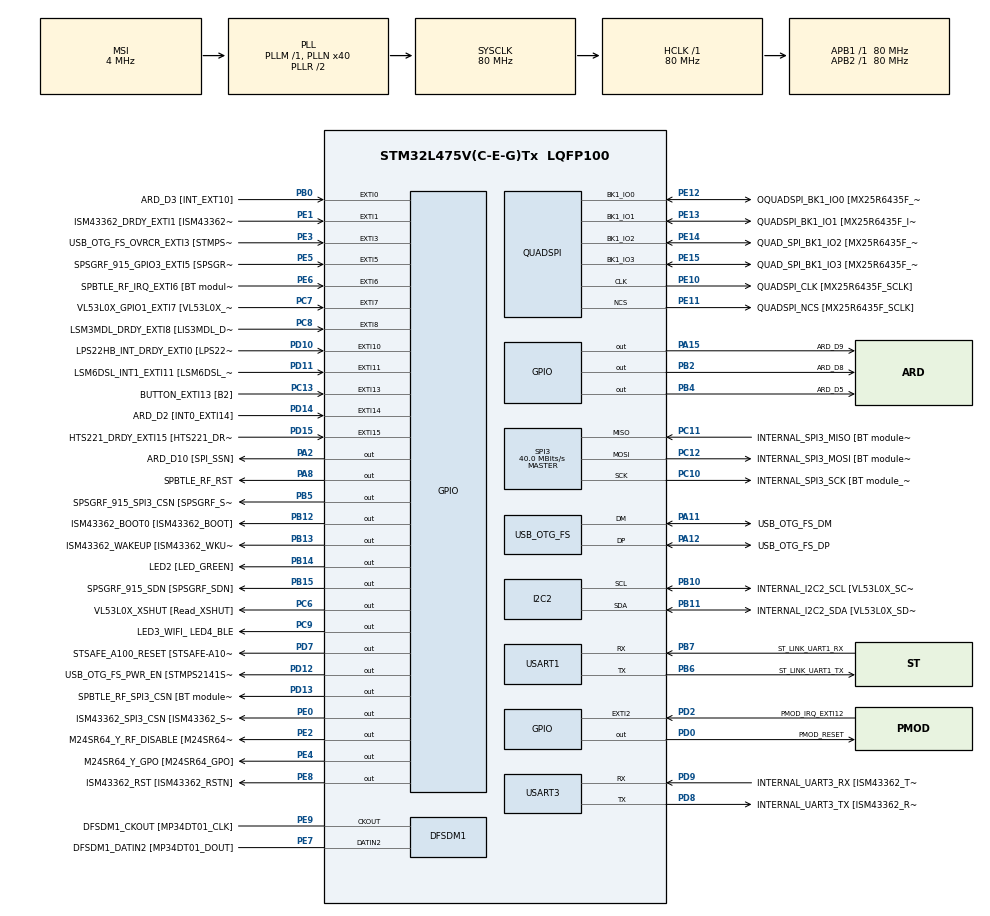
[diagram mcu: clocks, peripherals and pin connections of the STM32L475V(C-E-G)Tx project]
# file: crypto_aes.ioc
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Mcu.Family=STM32L4
Mcu.Name=STM32L475V(C-E-G)Tx
Mcu.Package=LQFP100
NVIC.EXTI15_10_IRQn=true\:0\:0\:false\:false\:true\:true\:true\:true
NVIC.EXTI9_5_IRQn=true\:0\:0\:false\:false\:true\:true\:true\:true
NVIC.PriorityGroup=NVIC_PRIORITYGROUP_4
PA0.GPIO_Label=ARD_D1 [UART4_TX]
PA0.Signal=UART4_TX
PA1.GPIO_Label=ARD_D0 [UART4_RX]
PA1.Signal=UART4_RX
PA10.GPIO_Label=USB_OTG_FS_ID
PA10.Signal=USB_OTG_FS_ID
PA11.GPIO_Label=USB_OTG_FS_DM
PA11.Mode=Device_Only
PA11.Signal=USB_OTG_FS_DM
PA12.GPIO_Label=USB_OTG_FS_DP
PA12.Mode=Device_Only
PA12.Signal=USB_OTG_FS_DP
PA13\ (JTMS-SWDIO).GPIO_Label=SYS_JTMS_SWDIO
PA13\ (JTMS-SWDIO).Mode=Serial_Wire
PA13\ (JTMS-SWDIO).Signal=SYS_JTMS-SWDIO
PA14\ (JTCK-SWCLK).GPIO_Label=SYS_JTCK_SWCLK
PA14\ (JTCK-SWCLK).Mode=Serial_Wire
PA14\ (JTCK-SWCLK).Signal=SYS_JTCK-SWCLK
PA15\ (JTDI).GPIO_Label=ARD_D9
PA15\ (JTDI).Signal=GPIO_Output
PA2.GPIO_Label=ARD_D10 [SPI_SSN]
PA2.Signal=GPIO_Output
PA3.GPIO_Label=ARD_D4
PA3.Signal=S_TIM2_CH4
PA4.GPIO_Label=ARD_D7
PA4.Signal=ADCx_IN9
PA5.GPIO_Label=ARD_D13 [SPI1_SCK]
PA5.Signal=SPI1_SCK
PA6.GPIO_Label=ARD_D12 [SPI1_MISO]
PA6.Signal=SPI1_MISO
PA7.GPIO_Label=ARD_D11 [SPI1_MOSI]
PA7.Signal=SPI1_MOSI
PA8.GPIO_Label=SPBTLE_RF_RST
PA8.Signal=GPIO_Output
PA9.GPIO_Label=USB_OTG_FS_VBUS [STMPS2141STR_OUT]
PA9.Signal=USB_OTG_FS_VBUS
PB0.GPIO_Label=ARD_D3 [INT_EXT10]
PB0.Signal=GPXTI0
PB1.GPIO_Label=ARD_D6 [ADC1_IN6]
PB1.Signal=ADCx_IN16
PB10.GPIO_Label=INTERNAL_I2C2_SCL [VL53L0X_SCL]
PB10.GPIO_Pu=GPIO_PULLUP
PB10.Mode=I2C
PB10.Signal=I2C2_SCL
PB11.GPIO_Label=INTERNAL_I2C2_SDA [VL53L0X_SDA]
PB11.GPIO_Pu=GPIO_PULLUP
PB11.Mode=I2C
PB11.Signal=I2C2_SDA
PB12.GPIO_Label=ISM43362_BOOT0 [ISM43362_BOOT]
PB12.Signal=GPIO_Output
PB13.GPIO_Label=ISM43362_WAKEUP [ISM43362_WKUP]
PB13.Signal=GPIO_Output
PB14.GPIO_Label=LED2 [LED_GREEN]
PB14.Signal=GPIO_Output
PB15.GPIO_Label=SPSGRF_915_SDN [SPSGRF_SDN]
PB15.Signal=GPIO_Output
PB2.GPIO_Label=ARD_D8
PB2.Signal=GPIO_Output
PB3\ (JTDO-TRACESWO).GPIO_Label=SYS_JTD0_SWO
PB3\ (JTDO-TRACESWO).Signal=SYS_JTDO-SWO
PB4\ (NJTRST).GPIO_Label=ARD_D5
PB4\ (NJTRST).Signal=GPIO_Output
PB5.GPIO_Label=SPSGRF_915_SPI3_CSN [SPSGRF_SPI_CS]
PB5.PinState=GPIO_PIN_SET
PB5.Signal=GPIO_Output
PB6.GPIO_Label=ST_LINK_UART1_TX
PB6.Mode=Asynchronous
PB6.Signal=USART1_TX
PB7.GPIO_Label=ST_LINK_UART1_RX
PB7.Mode=Asynchronous
PB7.Signal=USART1_RX
PB8.GPIO_Label=ARD_D15 [I2C1_SCL]
PB8.Signal=I2C1_SCL
PB9.GPIO_Label=ARD_D14 [I2C1_SDA]
PB9.Signal=I2C1_SDA
PC0.GPIO_Label=ARD_A5 [ADC]
PC0.Signal=ADCx_IN1
PC1.GPIO_Label=ARD_A4 [ADC]
PC1.Signal=ADCx_IN2
PC10.GPIO_Label=INTERNAL_SPI3_SCK [BT module_SPI_SCLK] [ISM43362_SCK]
PC10.Mode=Full_Duplex_Master
PC10.Signal=SPI3_SCK
PC11.GPIO_Label=INTERNAL_SPI3_MISO [BT module_SPI_MISO] [ISM43362_MISO]
PC11.Mode=Full_Duplex_Master
PC11.Signal=SPI3_MISO
PC12.GPIO_Label=INTERNAL_SPI3_MOSI [BT module_SPI_MOSI] [ISM43362_MOSI]
PC12.Mode=Full_Duplex_Master
PC12.Signal=SPI3_MOSI
PC13.GPIO_Label=BUTTON_EXTI13 [B2]
PC13.GPIO_ModeDefaultEXTI=GPIO_MODE_IT_FALLING
PC13.Signal=GPXTI13
PC14-OSC32_IN\ (PC14).Mode=LSE-External-Oscillator
PC14-OSC32_IN\ (PC14).Signal=RCC_OSC32_IN
PC15-OSC32_OUT\ (PC15).Mode=LSE-External-Oscillator
PC15-OSC32_OUT\ (PC15).Signal=RCC_OSC32_OUT
PC2.GPIO_Label=ARD_A3 [ADC]
PC2.Signal=ADCx_IN3
PC3.GPIO_Label=ARD_A2 [ADC]
PC3.Signal=ADCx_IN4
PC4.GPIO_Label=ARD_A1 [ADC]
PC4.Signal=ADCx_IN13
PC5.GPIO_Label=ARD_A0 [ADC]
PC5.Signal=ADCx_IN14
PC6.GPIO_Label=VL53L0X_XSHUT [Read_XSHUT]
PC6.Signal=GPIO_Output
PC7.GPIO_Label=VL53L0X_GPIO1_EXTI7 [VL53L0X_GPIO1]
PC7.Signal=GPXTI7
PC8.GPIO_Label=LSM3MDL_DRDY_EXTI8 [LIS3MDL_DRDY]
PC8.Signal=GPXTI8
PC9.GPIO_Label=LED3_WIFI_ LED4_BLE
PC9.Signal=GPIO_Output
PD0.GPIO_Label=PMOD_RESET
PD0.Signal=GPIO_Output
PD1.GPIO_Label=PMOD_SPI2_SCK
PD1.Signal=SPI2_SCK
PD10.GPIO_Label=LPS22HB_INT_DRDY_EXTI0 [LPS22HB_INT_DRDY] 
PD10.Signal=GPXTI10
PD11.GPIO_Label=LSM6DSL_INT1_EXTI11 [LSM6DSL_INT1]
PD11.Signal=GPXTI11
PD12.GPIO_Label=USB_OTG_FS_PWR_EN [STMPS2141STR_EN]
PD12.Signal=GPIO_Output
PD13.GPIO_Label=SPBTLE_RF_SPI3_CSN [BT module_SPI_CS]
PD13.PinState=GPIO_PIN_SET
PD13.Signal=GPIO_Output
PD14.GPIO_Label=ARD_D2 [INT0_EXTI14]
PD14.Signal=GPXTI14
PD15.GPIO_Label=HTS221_DRDY_EXTI15 [HTS221_DRDY]
PD15.Signal=GPXTI15
PD2.GPIO_Label=PMOD_IRQ_EXTI12
PD2.Signal=GPXTI2
PD3.GPIO_Label=PMOD_UART2_CTS
PD3.Signal=USART2_CTS
PD4.GPIO_Label=PMOD_UART2_RTS
PD4.Signal=USART2_RTS
PD5.GPIO_Label=PMOD_UART2_TX
PD5.Signal=USART2_TX
PD6.GPIO_Label=PMOD_UART2_RX
PD6.Signal=USART2_RX
PD7.GPIO_Label=STSAFE_A100_RESET [STSAFE-A100_RESET]
PD7.Signal=GPIO_Output
PD8.GPIO_Label=INTERNAL_UART3_TX [ISM43362_RX]
PD8.Mode=Asynchronous
PD8.Signal=USART3_TX
PD9.GPIO_Label=INTERNAL_UART3_RX [ISM43362_TX]
PD9.Mode=Asynchronous
PD9.Signal=USART3_RX
PE0.GPIO_Label=ISM43362_SPI3_CSN [ISM43362_SSN]
PE0.PinState=GPIO_PIN_SET
PE0.Signal=GPIO_Output
PE1.GPIO_Label=ISM43362_DRDY_EXTI1 [ISM43362_DATARDY]
PE1.Signal=GPXTI1
PE10.GPIO_Label=QUADSPI_CLK [MX25R6435F_SCLK]
PE10.Mode=Single Bank
PE10.Signal=QUADSPI_CLK
PE11.GPIO_Label=QUADSPI_NCS [MX25R6435F_SCLK]
PE11.Mode=Single Bank
PE11.Signal=QUADSPI_NCS
PE12.GPIO_Label=OQUADSPI_BK1_IO0 [MX25R6435F_IO0]
PE12.Mode=Single Bank
PE12.Signal=QUADSPI_BK1_IO0
PE13.GPIO_Label=QUADSPI_BK1_IO1 [MX25R6435F_IO1]
PE13.Mode=Single Bank
PE13.Signal=QUADSPI_BK1_IO1
PE14.GPIO_Label=QUAD_SPI_BK1_IO2 [MX25R6435F_IO2]
PE14.Mode=Single Bank
PE14.Signal=QUADSPI_BK1_IO2
PE15.GPIO_Label=QUAD_SPI_BK1_IO3 [MX25R6435F_IO3]
PE15.Mode=Single Bank
PE15.Signal=QUADSPI_BK1_IO3
PE2.GPIO_Label=M24SR64_Y_RF_DISABLE [M24SR64_RFDIS]
PE2.Signal=GPIO_Output
PE3.GPIO_Label=USB_OTG_FS_OVRCR_EXTI3 [STMPS2141STR_FAULT]
PE3.Signal=GPXTI3
PE4.GPIO_Label=M24SR64_Y_GPO [M24SR64_GPO]
PE4.Signal=GPIO_Output
PE5.GPIO_Label=SPSGRF_915_GPIO3_EXTI5 [SPSGRF_GPIO_3]
PE5.Signal=GPXTI5
PE6.GPIO_Label=SPBTLE_RF_IRQ_EXTI6 [BT module_SPI_IRQ]
PE6.Signal=GPXTI6
PE7.GPIO_Label=DFSDM1_DATIN2 [MP34DT01_DOUT]
PE7.Signal=S_DATAIN2DFSDM1
PE8.GPIO_Label=ISM43362_RST [ISM43362_RSTN]
PE8.Signal=GPIO_Output
PE9.GPIO_Label=DFSDM1_CKOUT [MP34DT01_CLK]
PE9.Signal=S_CKOUTDFSDM1
ProjectManager.HeapSize=0x200
ProjectManager.StackSize=0x400
ProjectManager.TargetToolchain=STM32CubeIDE
QUADSPI.ClockPrescaler=2
QUADSPI.FifoThreshold=4
QUADSPI.FlashSize=23
QUADSPI.SampleShifting=QSPI_SAMPLE_SHIFTING_HALFCYCLE
RCC.ADCFreq_Value=48000000
RCC.AHBFreq_Value=80000000
RCC.APB1Freq_Value=80000000
RCC.APB1TimFreq_Value=80000000
RCC.APB2Freq_Value=80000000
RCC.APB2TimFreq_Value=80000000
RCC.CortexFreq_Value=80000000
RCC.HCLKFreq_Value=80000000
RCC.HSE_VALUE=8000000
RCC.HSI_VALUE=16000000
RCC.MSI_VALUE=4000000
RCC.PLLN=40
RCC.PLLSAI1N=24
RCC.SYSCLKFreq_VALUE=80000000
RCC.SYSCLKSource=RCC_SYSCLKSOURCE_PLLCLK
RCC.USBFreq_Value=48000000
RCC.VCOOutputFreq_Value=160000000
SH.ADCx_IN1.0=ADC1_IN1
SH.ADCx_IN13.0=ADC1_IN13
SH.ADCx_IN14.0=ADC1_IN14
SH.ADCx_IN16.0=ADC1_IN16
SH.ADCx_IN2.0=ADC1_IN2
SH.ADCx_IN3.0=ADC1_IN3
SH.ADCx_IN4.0=ADC1_IN4
SH.ADCx_IN9.0=ADC1_IN9
SH.S_CKOUTDFSDM1.0=DFSDM1_CKOUT,CKOUT
SH.S_CKOUTDFSDM1.1=DFSDM1_CKOUT,PDM_SPI_Input_from_ch12_and_Internal_Clock
SH.S_DATAIN2DFSDM1.0=DFSDM1_DATIN2,PDM_SPI_Input_from_ch12_and_Internal_Clock
SH.S_TIM2_CH4.0=TIM2_CH4
SPI3.CalculateBaudRate=40.0 MBits/s
SPI3.Direction=SPI_DIRECTION_2LINES
SPI3.Mode=SPI_MODE_MASTER
SPI3.VirtualType=VM_MASTER
USART1.VirtualMode-Asynchronous=VM_ASYNC
USART3.VirtualMode-Asynchronous=VM_ASYNC
USB_OTG_FS.VirtualMode=Device_Only
VP_RNG_VS_RNG.Mode=RNG_Activate
board=B-L475E-IOT01A1

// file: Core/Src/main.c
/* USER CODE BEGIN Header */
/**
  ******************************************************************************
  * @file           : main.c
  * @brief          : Main program body
  ******************************************************************************
  * @attention
  *
  * Copyright (c) 2024 STMicroelectronics.
  * All rights reserved.
  *
  * This software is licensed under terms that can be found in the LICENSE file
  * in the root directory of this software component.
  * If no LICENSE file comes with this software, it is provided AS-IS.
  *
  ******************************************************************************
  */
/* USER CODE END Header */
#include "main.h"

/* USER CODE BEGIN Includes */
#include "tee_client_api.h"

/* USER CODE END Includes */

DFSDM_Channel_HandleTypeDef hdfsdm1_channel1;

I2C_HandleTypeDef hi2c2;

QSPI_HandleTypeDef hqspi;

RNG_HandleTypeDef hrng;

SPI_HandleTypeDef hspi3;

UART_HandleTypeDef huart1;
UART_HandleTypeDef huart3;

PCD_HandleTypeDef hpcd_USB_OTG_FS;

void SystemClock_Config(void);
void PeriphCommonClock_Config(void);
static void MX_GPIO_Init(void);
static void MX_DFSDM1_Init(void);
static void MX_I2C2_Init(void);
static void MX_QUADSPI_Init(void);
static void MX_SPI3_Init(void);
static void MX_USART1_UART_Init(void);
static void MX_USART3_UART_Init(void);
static void MX_USB_OTG_FS_PCD_Init(void);
static void MX_RNG_Init(void);

/* USER CODE BEGIN 0 */
static TEEC_UUID uuid = {0};

int __io_putchar(int ch){
    HAL_UART_Transmit(&huart1, (uint8_t *) &ch, 1, HAL_MAX_DELAY);
    return ch;
}

/* USER CODE END 0 */

int main(void)
{

  /* MCU Configuration--------------------------------------------------------*/

  /* Reset of all peripherals, Initializes the Flash interface and the Systick. */
  HAL_Init();

  /* Configure the system clock */
  SystemClock_Config();

  /* Configure the peripherals common clocks */
  PeriphCommonClock_Config();

  /* Initialize all configured peripherals */
  MX_GPIO_Init();
  MX_DFSDM1_Init();
  MX_I2C2_Init();
  MX_QUADSPI_Init();
  MX_SPI3_Init();
  MX_USART1_UART_Init();
  MX_USART3_UART_Init();
  MX_USB_OTG_FS_PCD_Init();
  MX_RNG_Init();
  /* USER CODE BEGIN 2 */
  TEEC_Context ctx;
  TEEC_Session sn;

  int ret = -1;

  ret = TEEC_InitializeContext("Example", &ctx);
  if(ret != 0){
	  return -1;
  }

  ret = TEEC_OpenSession(&ctx, &sn, &uuid, TEEC_LOGIN_PUBLIC, NULL, NULL, NULL);
  if(ret != 0){
	  return -1;
  }

  TEEC_Operation op = {0};

  op.paramTypes = TEEC_PARAM_TYPES(TEEC_MEMREF_TEMP_INPUT, TEEC_MEMREF_TEMP_INOUT , TEEC_MEMREF_TEMP_OUTPUT, TEEC_MEMREF_TEMP_OUTPUT);
  // param[0] holds the original message that should be encrypted by the TA
  op.params[0].tmpref.buffer = calloc(16, sizeof(char));
  op.params[0].tmpref.size = 16;
  // param[1] will hold the encryption of the message performed by the TA
  op.params[1].tmpref.buffer = calloc(16, sizeof(char));
  op.params[1].tmpref.size = 16;
  // param[2] will hold the dencryption of the message performed by the TA
  op.params[2].tmpref.buffer = calloc(16, sizeof(char));
  op.params[2].tmpref.size = 16;
  // param[3] will hold the digest of the message performed by the TA
  op.params[3].tmpref.buffer = calloc(32, sizeof(char));
  op.params[3].tmpref.size = 32;

  // Init the message to encrypt and print it
  memcpy(op.params[0].tmpref.buffer, "Secret-Message!\0", 16);
  printf("CA wants to encrypt this message with AES: %s\r\n", op.params[0].tmpref.buffer);

  // Make the TA generate the AES Key
  ret = TEEC_InvokeCommand(&sn, TEEC_COMMAND_GENERATE_KEY, &op, NULL);
  if(ret != 0){
	  return -1;
  }

  // Make the TA encrypt the message
  ret = TEEC_InvokeCommand(&sn, TEEC_COMMAND_ENCRYPT, &op, NULL);
  if(ret != 0){
	  return -1;
  }
  printf("Encrypted message: %s\r\n", op.params[1].tmpref.buffer);

  // Make the TA decrypt the message
  ret = TEEC_InvokeCommand(&sn, TEEC_COMMAND_DECRYPT, &op, NULL);
  if(ret != 0){
	  return -1;
  }
  printf("Decrypted message: %s\n", op.params[2].tmpref.buffer);

  // Make the TA calculate the digest of the original message
  ret = TEEC_InvokeCommand(&sn, TEEC_COMMAND_DIGEST, &op, NULL);
  if(ret != 0){
	  return -1;
  }
  printf("Digest of the message: %s\n", op.params[3].tmpref.buffer);

  // Make the TA destroy the key
  ret = TEEC_InvokeCommand(&sn, TEEC_COMMAND_DESTROY_KEY, &op, NULL);
  if(ret != 0){
	  return -1;
  }

  TEEC_CloseSession(&sn);

  TEEC_FinalizeContext(&ctx);

  /* USER CODE END 2 */

  /* Infinite loop */
  while (1)
  {

  }
}

void SystemClock_Config(void)
  {
    RCC_OscInitTypeDef RCC_OscInitStruct = {0};
    RCC_ClkInitTypeDef RCC_ClkInitStruct = {0};

    /** Configure the main internal regulator output voltage
    */
    if (HAL_PWREx_ControlVoltageScaling(PWR_REGULATOR_VOLTAGE_SCALE1) != HAL_OK)
    {
      Error_Handler();
    }

    /** Configure LSE Drive Capability
    */
    HAL_PWR_EnableBkUpAccess();
    __HAL_RCC_LSEDRIVE_CONFIG(RCC_LSEDRIVE_LOW);

    /** Initializes the RCC Oscillators according to the specified parameters
    * in the RCC_OscInitTypeDef structure.
    */

    /* MSI is enabled after System reset, activate PLL with MSI as source */
    RCC_OscInitStruct.OscillatorType = RCC_OSCILLATORTYPE_MSI;
    RCC_OscInitStruct.MSIState = RCC_MSI_ON;
    RCC_OscInitStruct.MSIClockRange = RCC_MSIRANGE_6;
    RCC_OscInitStruct.MSICalibrationValue = RCC_MSICALIBRATION_DEFAULT;
    RCC_OscInitStruct.PLL.PLLState = RCC_PLL_ON;
    RCC_OscInitStruct.PLL.PLLSource = RCC_PLLSOURCE_MSI;
    RCC_OscInitStruct.PLL.PLLM = 1;
    RCC_OscInitStruct.PLL.PLLN = 40;
    RCC_OscInitStruct.PLL.PLLR = 2;
    RCC_OscInitStruct.PLL.PLLP = 7;
    RCC_OscInitStruct.PLL.PLLQ = 4;
    if(HAL_RCC_OscConfig(&RCC_OscInitStruct) != HAL_OK)
    {
      /* Initialization Error */
      Error_Handler();
    }

    /* Select PLL as system clock source and configure the HCLK, PCLK1 and PCLK2 clocks dividers */
    RCC_ClkInitStruct.ClockType = (RCC_CLOCKTYPE_SYSCLK | RCC_CLOCKTYPE_HCLK | RCC_CLOCKTYPE_PCLK1 | RCC_CLOCKTYPE_PCLK2);
    RCC_ClkInitStruct.SYSCLKSource = RCC_SYSCLKSOURCE_PLLCLK;
    RCC_ClkInitStruct.AHBCLKDivider = RCC_SYSCLK_DIV1;
    RCC_ClkInitStruct.APB1CLKDivider = RCC_HCLK_DIV1;
    RCC_ClkInitStruct.APB2CLKDivider = RCC_HCLK_DIV1;
    if(HAL_RCC_ClockConfig(&RCC_ClkInitStruct, FLASH_LATENCY_4) != HAL_OK)
    {
      /* Initialization Error */
      Error_Handler();
    }

    /** Enable MSI Auto calibration
    */
    HAL_RCCEx_EnableMSIPLLMode();
}

void PeriphCommonClock_Config(void)
{
  RCC_PeriphCLKInitTypeDef PeriphClkInit = {0};

  /** Initializes the peripherals clock
  */
  PeriphClkInit.PeriphClockSelection = RCC_PERIPHCLK_USB|RCC_PERIPHCLK_RNG;
  PeriphClkInit.UsbClockSelection = RCC_USBCLKSOURCE_PLLSAI1;
  PeriphClkInit.RngClockSelection = RCC_RNGCLKSOURCE_PLLSAI1;
  PeriphClkInit.PLLSAI1.PLLSAI1Source = RCC_PLLSOURCE_MSI;
  PeriphClkInit.PLLSAI1.PLLSAI1M = 1;
  PeriphClkInit.PLLSAI1.PLLSAI1N = 24;
  PeriphClkInit.PLLSAI1.PLLSAI1P = RCC_PLLP_DIV7;
  PeriphClkInit.PLLSAI1.PLLSAI1Q = RCC_PLLQ_DIV2;
  PeriphClkInit.PLLSAI1.PLLSAI1R = RCC_PLLR_DIV2;
  PeriphClkInit.PLLSAI1.PLLSAI1ClockOut = RCC_PLLSAI1_48M2CLK;
  if (HAL_RCCEx_PeriphCLKConfig(&PeriphClkInit) != HAL_OK)
  {
    Error_Handler();
  }
}

static void MX_DFSDM1_Init(void)
{

  hdfsdm1_channel1.Instance = DFSDM1_Channel1;
  hdfsdm1_channel1.Init.OutputClock.Activation = ENABLE;
  hdfsdm1_channel1.Init.OutputClock.Selection = DFSDM_CHANNEL_OUTPUT_CLOCK_SYSTEM;
  hdfsdm1_channel1.Init.OutputClock.Divider = 2;
  hdfsdm1_channel1.Init.Input.Multiplexer = DFSDM_CHANNEL_EXTERNAL_INPUTS;
  hdfsdm1_channel1.Init.Input.DataPacking = DFSDM_CHANNEL_STANDARD_MODE;
  hdfsdm1_channel1.Init.Input.Pins = DFSDM_CHANNEL_FOLLOWING_CHANNEL_PINS;
  hdfsdm1_channel1.Init.SerialInterface.Type = DFSDM_CHANNEL_SPI_RISING;
  hdfsdm1_channel1.Init.SerialInterface.SpiClock = DFSDM_CHANNEL_SPI_CLOCK_INTERNAL;
  hdfsdm1_channel1.Init.Awd.FilterOrder = DFSDM_CHANNEL_FASTSINC_ORDER;
  hdfsdm1_channel1.Init.Awd.Oversampling = 1;
  hdfsdm1_channel1.Init.Offset = 0;
  hdfsdm1_channel1.Init.RightBitShift = 0x00;
  if (HAL_DFSDM_ChannelInit(&hdfsdm1_channel1) != HAL_OK)
  {
    Error_Handler();
  }

}

static void MX_I2C2_Init(void)
{

  hi2c2.Instance = I2C2;
  hi2c2.Init.Timing = 0x00000E14;
  hi2c2.Init.OwnAddress1 = 0;
  hi2c2.Init.AddressingMode = I2C_ADDRESSINGMODE_7BIT;
  hi2c2.Init.DualAddressMode = I2C_DUALADDRESS_DISABLE;
  hi2c2.Init.OwnAddress2 = 0;
  hi2c2.Init.OwnAddress2Masks = I2C_OA2_NOMASK;
  hi2c2.Init.GeneralCallMode = I2C_GENERALCALL_DISABLE;
  hi2c2.Init.NoStretchMode = I2C_NOSTRETCH_DISABLE;
  if (HAL_I2C_Init(&hi2c2) != HAL_OK)
  {
    Error_Handler();
  }

  /** Configure Analogue filter
  */
  if (HAL_I2CEx_ConfigAnalogFilter(&hi2c2, I2C_ANALOGFILTER_ENABLE) != HAL_OK)
  {
    Error_Handler();
  }

  /** Configure Digital filter
  */
  if (HAL_I2CEx_ConfigDigitalFilter(&hi2c2, 0) != HAL_OK)
  {
    Error_Handler();
  }

}

static void MX_QUADSPI_Init(void)
{

  /* QUADSPI parameter configuration*/
  hqspi.Instance = QUADSPI;
  hqspi.Init.ClockPrescaler = 2;
  hqspi.Init.FifoThreshold = 4;
  hqspi.Init.SampleShifting = QSPI_SAMPLE_SHIFTING_HALFCYCLE;
  hqspi.Init.FlashSize = 23;
  hqspi.Init.ChipSelectHighTime = QSPI_CS_HIGH_TIME_1_CYCLE;
  hqspi.Init.ClockMode = QSPI_CLOCK_MODE_0;
  if (HAL_QSPI_Init(&hqspi) != HAL_OK)
  {
    Error_Handler();
  }

}

static void MX_RNG_Init(void)
{

  hrng.Instance = RNG;
  if (HAL_RNG_Init(&hrng) != HAL_OK)
  {
    Error_Handler();
  }

}

static void MX_SPI3_Init(void)
{

  /* SPI3 parameter configuration*/
  hspi3.Instance = SPI3;
  hspi3.Init.Mode = SPI_MODE_MASTER;
  hspi3.Init.Direction = SPI_DIRECTION_2LINES;
  hspi3.Init.DataSize = SPI_DATASIZE_4BIT;
  hspi3.Init.CLKPolarity = SPI_POLARITY_LOW;
  hspi3.Init.CLKPhase = SPI_PHASE_1EDGE;
  hspi3.Init.NSS = SPI_NSS_SOFT;
  hspi3.Init.BaudRatePrescaler = SPI_BAUDRATEPRESCALER_2;
  hspi3.Init.FirstBit = SPI_FIRSTBIT_MSB;
  hspi3.Init.TIMode = SPI_TIMODE_DISABLE;
  hspi3.Init.CRCCalculation = SPI_CRCCALCULATION_DISABLE;
  hspi3.Init.CRCPolynomial = 7;
  hspi3.Init.CRCLength = SPI_CRC_LENGTH_DATASIZE;
  hspi3.Init.NSSPMode = SPI_NSS_PULSE_ENABLE;
  if (HAL_SPI_Init(&hspi3) != HAL_OK)
  {
    Error_Handler();
  }

}

static void MX_USART1_UART_Init(void)
{

  huart1.Instance = USART1;
  huart1.Init.BaudRate = 115200;
  huart1.Init.WordLength = UART_WORDLENGTH_8B;
  huart1.Init.StopBits = UART_STOPBITS_1;
  huart1.Init.Parity = UART_PARITY_NONE;
  huart1.Init.Mode = UART_MODE_TX_RX;
  huart1.Init.HwFlowCtl = UART_HWCONTROL_NONE;
  huart1.Init.OverSampling = UART_OVERSAMPLING_16;
  huart1.Init.OneBitSampling = UART_ONE_BIT_SAMPLE_DISABLE;
  huart1.AdvancedInit.AdvFeatureInit = UART_ADVFEATURE_NO_INIT;
  if (HAL_UART_Init(&huart1) != HAL_OK)
  {
    Error_Handler();
  }

}

static void MX_USART3_UART_Init(void)
{

  huart3.Instance = USART3;
  huart3.Init.BaudRate = 115200;
  huart3.Init.WordLength = UART_WORDLENGTH_8B;
  huart3.Init.StopBits = UART_STOPBITS_1;
  huart3.Init.Parity = UART_PARITY_NONE;
  huart3.Init.Mode = UART_MODE_TX_RX;
  huart3.Init.HwFlowCtl = UART_HWCONTROL_NONE;
  huart3.Init.OverSampling = UART_OVERSAMPLING_16;
  huart3.Init.OneBitSampling = UART_ONE_BIT_SAMPLE_DISABLE;
  huart3.AdvancedInit.AdvFeatureInit = UART_ADVFEATURE_NO_INIT;
  if (HAL_UART_Init(&huart3) != HAL_OK)
  {
    Error_Handler();
  }

}

static void MX_USB_OTG_FS_PCD_Init(void)
{

  hpcd_USB_OTG_FS.Instance = USB_OTG_FS;
  hpcd_USB_OTG_FS.Init.dev_endpoints = 6;
  hpcd_USB_OTG_FS.Init.speed = PCD_SPEED_FULL;
  hpcd_USB_OTG_FS.Init.phy_itface = PCD_PHY_EMBEDDED;
  hpcd_USB_OTG_FS.Init.Sof_enable = DISABLE;
  hpcd_USB_OTG_FS.Init.low_power_enable = DISABLE;
  hpcd_USB_OTG_FS.Init.lpm_enable = DISABLE;
  hpcd_USB_OTG_FS.Init.battery_charging_enable = DISABLE;
  hpcd_USB_OTG_FS.Init.use_dedicated_ep1 = DISABLE;
  hpcd_USB_OTG_FS.Init.vbus_sensing_enable = DISABLE;
  if (HAL_PCD_Init(&hpcd_USB_OTG_FS) != HAL_OK)
  {
    Error_Handler();
  }

}

static void MX_GPIO_Init(void)
{
  GPIO_InitTypeDef GPIO_InitStruct = {0};

  /* GPIO Ports Clock Enable */
  __HAL_RCC_GPIOE_CLK_ENABLE();
  __HAL_RCC_GPIOC_CLK_ENABLE();
  __HAL_RCC_GPIOA_CLK_ENABLE();
  __HAL_RCC_GPIOB_CLK_ENABLE();
  __HAL_RCC_GPIOD_CLK_ENABLE();

  /*Configure GPIO pin Output Level */
  HAL_GPIO_WritePin(GPIOE, M24SR64_Y_RF_DISABLE_Pin|M24SR64_Y_GPO_Pin|ISM43362_RST_Pin, GPIO_PIN_RESET);

  /*Configure GPIO pin Output Level */
  HAL_GPIO_WritePin(GPIOA, ARD_D10_Pin|SPBTLE_RF_RST_Pin|ARD_D9_Pin, GPIO_PIN_RESET);

  /*Configure GPIO pin Output Level */
  HAL_GPIO_WritePin(GPIOB, ARD_D8_Pin|ISM43362_BOOT0_Pin|ISM43362_WAKEUP_Pin|LED2_Pin
                          |SPSGRF_915_SDN_Pin|ARD_D5_Pin, GPIO_PIN_RESET);

  /*Configure GPIO pin Output Level */
  HAL_GPIO_WritePin(GPIOD, USB_OTG_FS_PWR_EN_Pin|PMOD_RESET_Pin|STSAFE_A100_RESET_Pin, GPIO_PIN_RESET);

  /*Configure GPIO pin Output Level */
  HAL_GPIO_WritePin(SPBTLE_RF_SPI3_CSN_GPIO_Port, SPBTLE_RF_SPI3_CSN_Pin, GPIO_PIN_SET);

  /*Configure GPIO pin Output Level */
  HAL_GPIO_WritePin(GPIOC, VL53L0X_XSHUT_Pin|LED3_WIFI__LED4_BLE_Pin, GPIO_PIN_RESET);

  /*Configure GPIO pin Output Level */
  HAL_GPIO_WritePin(SPSGRF_915_SPI3_CSN_GPIO_Port, SPSGRF_915_SPI3_CSN_Pin, GPIO_PIN_SET);

  /*Configure GPIO pin Output Level */
  HAL_GPIO_WritePin(ISM43362_SPI3_CSN_GPIO_Port, ISM43362_SPI3_CSN_Pin, GPIO_PIN_SET);

  /*Configure GPIO pins : M24SR64_Y_RF_DISABLE_Pin M24SR64_Y_GPO_Pin ISM43362_RST_Pin ISM43362_SPI3_CSN_Pin */
  GPIO_InitStruct.Pin = M24SR64_Y_RF_DISABLE_Pin|M24SR64_Y_GPO_Pin|ISM43362_RST_Pin|ISM43362_SPI3_CSN_Pin;
  GPIO_InitStruct.Mode = GPIO_MODE_OUTPUT_PP;
  GPIO_InitStruct.Pull = GPIO_NOPULL;
  GPIO_InitStruct.Speed = GPIO_SPEED_FREQ_LOW;
  HAL_GPIO_Init(GPIOE, &GPIO_InitStruct);

  /*Configure GPIO pins : USB_OTG_FS_OVRCR_EXTI3_Pin SPSGRF_915_GPIO3_EXTI5_Pin SPBTLE_RF_IRQ_EXTI6_Pin ISM43362_DRDY_EXTI1_Pin */
  GPIO_InitStruct.Pin = USB_OTG_FS_OVRCR_EXTI3_Pin|SPSGRF_915_GPIO3_EXTI5_Pin|SPBTLE_RF_IRQ_EXTI6_Pin|ISM43362_DRDY_EXTI1_Pin;
  GPIO_InitStruct.Mode = GPIO_MODE_IT_RISING;
  GPIO_InitStruct.Pull = GPIO_NOPULL;
  HAL_GPIO_Init(GPIOE, &GPIO_InitStruct);

  /*Configure GPIO pin : BUTTON_EXTI13_Pin */
  GPIO_InitStruct.Pin = BUTTON_EXTI13_Pin;
  GPIO_InitStruct.Mode = GPIO_MODE_IT_FALLING;
  GPIO_InitStruct.Pull = GPIO_NOPULL;
  HAL_GPIO_Init(BUTTON_EXTI13_GPIO_Port, &GPIO_InitStruct);

  /*Configure GPIO pins : ARD_A5_Pin ARD_A4_Pin ARD_A3_Pin ARD_A2_Pin
                           ARD_A1_Pin ARD_A0_Pin */
  GPIO_InitStruct.Pin = ARD_A5_Pin|ARD_A4_Pin|ARD_A3_Pin|ARD_A2_Pin
                          |ARD_A1_Pin|ARD_A0_Pin;
  GPIO_InitStruct.Mode = GPIO_MODE_ANALOG_ADC_CONTROL;
  GPIO_InitStruct.Pull = GPIO_NOPULL;
  HAL_GPIO_Init(GPIOC, &GPIO_InitStruct);

  /*Configure GPIO pins : ARD_D1_Pin ARD_D0_Pin */
  GPIO_InitStruct.Pin = ARD_D1_Pin|ARD_D0_Pin;
  GPIO_InitStruct.Mode = GPIO_MODE_AF_PP;
  GPIO_InitStruct.Pull = GPIO_NOPULL;
  GPIO_InitStruct.Speed = GPIO_SPEED_FREQ_VERY_HIGH;
  GPIO_InitStruct.Alternate = GPIO_AF8_UART4;
  HAL_GPIO_Init(GPIOA, &GPIO_InitStruct);

  /*Configure GPIO pins : ARD_D10_Pin SPBTLE_RF_RST_Pin ARD_D9_Pin */
  GPIO_InitStruct.Pin = ARD_D10_Pin|SPBTLE_RF_RST_Pin|ARD_D9_Pin;
  GPIO_InitStruct.Mode = GPIO_MODE_OUTPUT_PP;
  GPIO_InitStruct.Pull = GPIO_NOPULL;
  GPIO_InitStruct.Speed = GPIO_SPEED_FREQ_LOW;
  HAL_GPIO_Init(GPIOA, &GPIO_InitStruct);

  /*Configure GPIO pin : ARD_D4_Pin */
  GPIO_InitStruct.Pin = ARD_D4_Pin;
  GPIO_InitStruct.Mode = GPIO_MODE_AF_PP;
  GPIO_InitStruct.Pull = GPIO_NOPULL;
  GPIO_InitStruct.Speed = GPIO_SPEED_FREQ_LOW;
  GPIO_InitStruct.Alternate = GPIO_AF1_TIM2;
  HAL_GPIO_Init(ARD_D4_GPIO_Port, &GPIO_InitStruct);

  /*Configure GPIO pin : ARD_D7_Pin */
  GPIO_InitStruct.Pin = ARD_D7_Pin;
  GPIO_InitStruct.Mode = GPIO_MODE_ANALOG_ADC_CONTROL;
  GPIO_InitStruct.Pull = GPIO_NOPULL;
  HAL_GPIO_Init(ARD_D7_GPIO_Port, &GPIO_InitStruct);

  /*Configure GPIO pins : ARD_D13_Pin ARD_D12_Pin ARD_D11_Pin */
  GPIO_InitStruct.Pin = ARD_D13_Pin|ARD_D12_Pin|ARD_D11_Pin;
  GPIO_InitStruct.Mode = GPIO_MODE_AF_PP;
  GPIO_InitStruct.Pull = GPIO_NOPULL;
  GPIO_InitStruct.Speed = GPIO_SPEED_FREQ_VERY_HIGH;
  GPIO_InitStruct.Alternate = GPIO_AF5_SPI1;
  HAL_GPIO_Init(GPIOA, &GPIO_InitStruct);

  /*Configure GPIO pin : ARD_D3_Pin */
  GPIO_InitStruct.Pin = ARD_D3_Pin;
  GPIO_InitStruct.Mode = GPIO_MODE_IT_RISING;
  GPIO_InitStruct.Pull = GPIO_NOPULL;
  HAL_GPIO_Init(ARD_D3_GPIO_Port, &GPIO_InitStruct);

  /*Configure GPIO pin : ARD_D6_Pin */
  GPIO_InitStruct.Pin = ARD_D6_Pin;
  GPIO_InitStruct.Mode = GPIO_MODE_ANALOG_ADC_CONTROL;
  GPIO_InitStruct.Pull = GPIO_NOPULL;
  HAL_GPIO_Init(ARD_D6_GPIO_Port, &GPIO_InitStruct);

  /*Configure GPIO pins : ARD_D8_Pin ISM43362_BOOT0_Pin ISM43362_WAKEUP_Pin LED2_Pin
                           SPSGRF_915_SDN_Pin ARD_D5_Pin SPSGRF_915_SPI3_CSN_Pin */
  GPIO_InitStruct.Pin = ARD_D8_Pin|ISM43362_BOOT0_Pin|ISM43362_WAKEUP_Pin|LED2_Pin
                          |SPSGRF_915_SDN_Pin|ARD_D5_Pin|SPSGRF_915_SPI3_CSN_Pin;
  GPIO_InitStruct.Mode = GPIO_MODE_OUTPUT_PP;
  GPIO_InitStruct.Pull = GPIO_NOPULL;
  GPIO_InitStruct.Speed = GPIO_SPEED_FREQ_LOW;
  HAL_GPIO_Init(GPIOB, &GPIO_InitStruct);

  /*Configure GPIO pins : LPS22HB_INT_DRDY_EXTI0_Pin LSM6DSL_INT1_EXTI11_Pin ARD_D2_Pin HTS221_DRDY_EXTI15_Pin
                           PMOD_IRQ_EXTI12_Pin */
  GPIO_InitStruct.Pin = LPS22HB_INT_DRDY_EXTI0_Pin|LSM6DSL_INT1_EXTI11_Pin|ARD_D2_Pin|HTS221_DRDY_EXTI15_Pin
                          |PMOD_IRQ_EXTI12_Pin;
  GPIO_InitStruct.Mode = GPIO_MODE_IT_RISING;
  GPIO_InitStruct.Pull = GPIO_NOPULL;
  HAL_GPIO_Init(GPIOD, &GPIO_InitStruct);

  /*Configure GPIO pins : USB_OTG_FS_PWR_EN_Pin SPBTLE_RF_SPI3_CSN_Pin PMOD_RESET_Pin STSAFE_A100_RESET_Pin */
  GPIO_InitStruct.Pin = USB_OTG_FS_PWR_EN_Pin|SPBTLE_RF_SPI3_CSN_Pin|PMOD_RESET_Pin|STSAFE_A100_RESET_Pin;
  GPIO_InitStruct.Mode = GPIO_MODE_OUTPUT_PP;
  GPIO_InitStruct.Pull = GPIO_NOPULL;
  GPIO_InitStruct.Speed = GPIO_SPEED_FREQ_LOW;
  HAL_GPIO_Init(GPIOD, &GPIO_InitStruct);

  /*Configure GPIO pins : VL53L0X_XSHUT_Pin LED3_WIFI__LED4_BLE_Pin */
  GPIO_InitStruct.Pin = VL53L0X_XSHUT_Pin|LED3_WIFI__LED4_BLE_Pin;
  GPIO_InitStruct.Mode = GPIO_MODE_OUTPUT_PP;
  GPIO_InitStruct.Pull = GPIO_NOPULL;
  GPIO_InitStruct.Speed = GPIO_SPEED_FREQ_LOW;
  HAL_GPIO_Init(GPIOC, &GPIO_InitStruct);

  /*Configure GPIO pins : VL53L0X_GPIO1_EXTI7_Pin LSM3MDL_DRDY_EXTI8_Pin */
  GPIO_InitStruct.Pin = VL53L0X_GPIO1_EXTI7_Pin|LSM3MDL_DRDY_EXTI8_Pin;
  GPIO_InitStruct.Mode = GPIO_MODE_IT_RISING;
  GPIO_InitStruct.Pull = GPIO_NOPULL;
  HAL_GPIO_Init(GPIOC, &GPIO_InitStruct);

  /*Configure GPIO pin : PMOD_SPI2_SCK_Pin */
  GPIO_InitStruct.Pin = PMOD_SPI2_SCK_Pin;
  GPIO_InitStruct.Mode = GPIO_MODE_AF_PP;
  GPIO_InitStruct.Pull = GPIO_NOPULL;
  GPIO_InitStruct.Speed = GPIO_SPEED_FREQ_VERY_HIGH;
  GPIO_InitStruct.Alternate = GPIO_AF5_SPI2;
  HAL_GPIO_Init(PMOD_SPI2_SCK_GPIO_Port, &GPIO_InitStruct);

  /*Configure GPIO pins : PMOD_UART2_CTS_Pin PMOD_UART2_RTS_Pin PMOD_UART2_TX_Pin PMOD_UART2_RX_Pin */
  GPIO_InitStruct.Pin = PMOD_UART2_CTS_Pin|PMOD_UART2_RTS_Pin|PMOD_UART2_TX_Pin|PMOD_UART2_RX_Pin;
  GPIO_InitStruct.Mode = GPIO_MODE_AF_PP;
  GPIO_InitStruct.Pull = GPIO_NOPULL;
  GPIO_InitStruct.Speed = GPIO_SPEED_FREQ_VERY_HIGH;
  GPIO_InitStruct.Alternate = GPIO_AF7_USART2;
  HAL_GPIO_Init(GPIOD, &GPIO_InitStruct);

  /*Configure GPIO pins : ARD_D15_Pin ARD_D14_Pin */
  GPIO_InitStruct.Pin = ARD_D15_Pin|ARD_D14_Pin;
  GPIO_InitStruct.Mode = GPIO_MODE_AF_OD;
  GPIO_InitStruct.Pull = GPIO_NOPULL;
  GPIO_InitStruct.Speed = GPIO_SPEED_FREQ_VERY_HIGH;
  GPIO_InitStruct.Alternate = GPIO_AF4_I2C1;
  HAL_GPIO_Init(GPIOB, &GPIO_InitStruct);

  /* EXTI interrupt init*/
  HAL_NVIC_SetPriority(EXTI9_5_IRQn, 0, 0);
  HAL_NVIC_EnableIRQ(EXTI9_5_IRQn);

  HAL_NVIC_SetPriority(EXTI15_10_IRQn, 0, 0);
  HAL_NVIC_EnableIRQ(EXTI15_10_IRQn);

}

void Error_Handler(void)
{
  __disable_irq();
  while (1)
  {
  }
}
